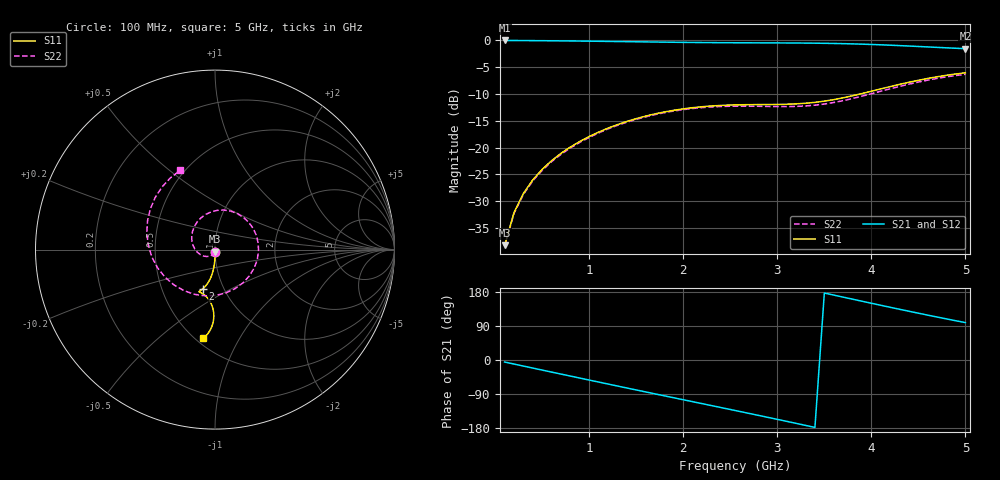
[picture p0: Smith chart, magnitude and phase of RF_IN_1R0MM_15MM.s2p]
! Created Tue Jul 13 14:09:45 2021
! List of port names and net name(s): example Port n = <port_name> <net_name1> <net_name2> ...
! Port 1 = P1 RF_IN GND GND
! Port 2 = P2 NetDD1_9 GND
# hz S ri R 50
! 2 Port Network Data from data block
! freq  reS11  imS11  reS21  imS21  reS12  imS12  reS22  imS22
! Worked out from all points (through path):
!   50 points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, 100 MHz to 5 GHz, reference 50 ohm
!   highest |S21| = -0.01 dB at 100 MHz (marker M1); lowest = -1.5 dB at 5 GHz (marker M2)
!   group delay of S21, straight-line fit = 145 ps
!   lowest |S11| = -38.3 dB at 100 MHz (marker M3), VSWR 1.02, Z = 50 - j1.22 ohm
!   |S11| at or under -10 dB: start of sweep to 3.881 GHz
!   |S22| runs from -38.4 to -6.3 dB; largest |S21 - S12| = 0
!   S11 on the Smith chart (normalised r, x): 100 MHz: 1.00, -0.02; 2 GHz: 0.80, -0.37; 5 GHz: 0.54, -0.72
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1e8  0.000592 -0.0122  0.994 -0.0937  0.994 -0.0937  -0.0016 -0.0119
2e8  0.000456 -0.0248  0.9798 -0.1853  0.9798 -0.1853  -0.00804 -0.0229
3e8  2.15e-05 -0.0374  0.9573 -0.2748  0.9573 -0.2748  -0.0184 -0.0316
4e8  -0.000687 -0.05  0.9266 -0.3615  0.9266 -0.3615  -0.032 -0.0371
7e8  -0.00483 -0.0882  0.7886 -0.5978  0.7886 -0.5978  -0.082 -0.0277
1e9  -0.0131 -0.1262  0.5924 -0.7848  0.5924 -0.7848  -0.1223 0.0231
1.4e9  -0.0317 -0.1724  0.2705 -0.9349  0.2705 -0.9349  -0.1151 0.1286
1.8e9  -0.0565 -0.2074  -0.0769 -0.9599  -0.0769 -0.9599  -0.0197 0.2108
2e9  -0.0688 -0.2191  -0.2461 -0.9263  -0.2461 -0.9263  0.0505 0.2203
2.3e9  -0.0833 -0.2297  -0.4808 -0.823  -0.4808 -0.823  0.1569 0.1808
2.6e9  -0.0892 -0.2343  -0.6805 -0.6627  -0.6805 -0.6627  0.2299 0.0805
2.8e9  -0.0869 -0.2363  -0.7876 -0.5283  -0.7876 -0.5283  0.2426 -0.00867
3e9  -0.0793 -0.2398  -0.8694 -0.3756  -0.8694 -0.3756  0.2188 -0.1019
3.4e9  -0.0514 -0.2591  -0.941 -0.0342  -0.941 -0.0342  0.0627 -0.2405
3.6e9  -0.0349 -0.278  -0.9252 0.1414  -0.9252 0.1414  -0.0528 -0.2578
3.8e9  -0.0202 -0.3037  -0.8744 0.3094  -0.8744 0.3094  -0.1727 -0.229
4e9  -0.00999 -0.3352  -0.7914 0.4613  -0.7914 0.4613  -0.2778 -0.1544
4.2e9  -0.00651 -0.3704  -0.6818 0.5903  -0.6818 0.5903  -0.3509 -0.043
4.4e9  -0.0109 -0.4067  -0.5532 0.6917  -0.5532 0.6917  -0.3799 0.09
4.6e9  -0.023 -0.441  -0.4134 0.764  -0.4134 0.764  -0.3604 0.2266
4.8e9  -0.0418 -0.4708  -0.2694 0.8084  -0.2694 0.8084  -0.2951 0.349
5e9  -0.0655 -0.4941  -0.1264 0.8276  -0.1264 0.8276  -0.1925 0.4427
